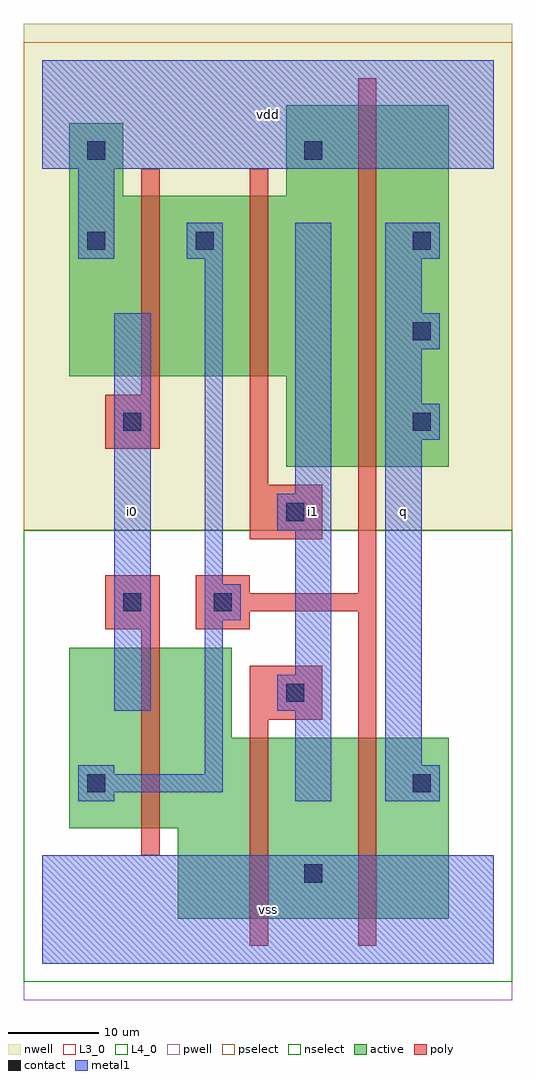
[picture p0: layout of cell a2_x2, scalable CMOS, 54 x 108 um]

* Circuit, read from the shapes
.subckt a2_x2 i0 i1 q vdd vss
M1 n1 i0 n2 VSUBS nfet w=20u l=2u
M2 vss i1 n1 VSUBS nfet w=20u l=2u
M3 q n2 vss VSUBS nfet w=20u l=2u
M4 n2 i0 vdd n3 pfet w=20u l=2u
M5 vdd i1 n2 n3 pfet w=20u l=2u
M6 q n2 vdd n3 pfet w=40u l=2u
.ends

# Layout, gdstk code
import gdstk
lib = gdstk.Library(unit=1e-6, precision=1e-09)
def R(c, l, rs):  # rectangles x0, y0, x1, y1
    for r in rs: c.add(gdstk.rectangle(r[:2], r[2:], *l))
def A(c, l, x, y, w, h, nx, ny, dx, dy):  # array of equal rectangles
    R(c, l, [(x+i*dx, y+j*dy, x+i*dx+w, y+j*dy+h) for i in range(nx) for j in range(ny)])
L3_0 = (3, 0)
L4_0 = (4, 0)
contact = (25, 0)
pwell = (41, 0)
nwell = (42, 0)
active = (43, 0)
pselect = (44, 0)
nselect = (45, 0)
poly = (46, 0)
metal1 = (49, 0)

a2_x2 = lib.new_cell('a2_x2')
R(a2_x2, L3_0, [(15,5,45,15), (3,15,45,25), (3,25,21,35)])
R(a2_x2, L4_0, [(27,55,45,65), (3,65,45,85), (3,85,9,93), (27,85,45,95)])
A(a2_x2, contact, 41, 59, 2, 2, 1, 3, 0, 10)
R(a2_x2, contact, [(29,9,31,11), (5,19,7,21), (41,19,43,21), (27,29,29,31), (9,39,11,41), (19,39,21,41), (27,49,29,51), (9,59,11,61), (5,79,7,81), (17,79,19,81), (5,89,7,91), (29,89,31,91)])
R(a2_x2, pwell, [(-2,-4,52,48)])
R(a2_x2, nwell, [(-2,48,52,104)])
R(a2_x2, active, [(15,5,45,15), (3,15,45,25), (3,25,21,35), (27,55,45,65), (3,65,45,85), (3,85,9,93), (27,85,45,95)])
R(a2_x2, pselect, [(-2,48,52,102)])
R(a2_x2, nselect, [(-2,-2,52,48)])
R(a2_x2, poly, [(23,2,25,27), (35,2,37,39), (11,12,13,37), (23,27,31,33), (7,37,13,43), (17,37,23,39), (17,39,37,41), (17,41,23,43), (35,41,37,98), (23,47,31,53), (23,53,25,88), (7,57,13,63), (11,63,13,88)])
A(a2_x2, metal1, 38, 58, 6, 4, 1, 3, 0, 10)
R(a2_x2, metal1, [(0,0,50,12), (4,18,8,19), (28,18,32,28), (38,18,44,22), (4,19,20,21), (4,21,8,22), (18,21,20,38), (38,22,42,58), (8,28,12,72), (26,28,32,32), (28,32,32,48), (18,38,22,42), (18,42,20,78), (26,48,32,52), (28,52,32,82), (38,62,42,68), (38,72,42,78), (4,78,8,88), (16,78,20,82), (0,88,50,100)])
a2_x2.add(gdstk.Label('i0', (10,50), layer=49, texttype=0))
a2_x2.add(gdstk.Label('vss', (25,6), layer=49, texttype=0))
a2_x2.add(gdstk.Label('i1', (30,50), layer=49, texttype=0))
a2_x2.add(gdstk.Label('vdd', (25,94), layer=49, texttype=0))
a2_x2.add(gdstk.Label('q', (40,50), layer=49, texttype=0))

lib.write_gds('a2_x2.gds')
